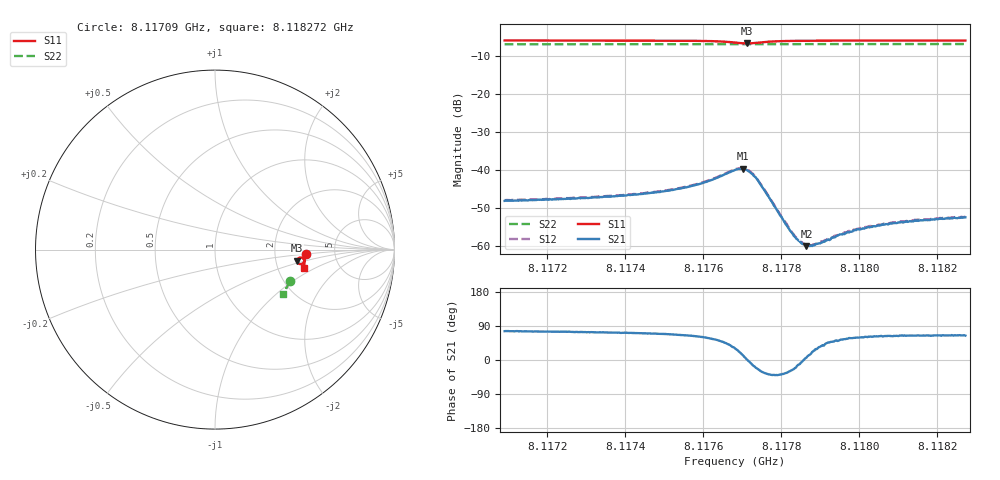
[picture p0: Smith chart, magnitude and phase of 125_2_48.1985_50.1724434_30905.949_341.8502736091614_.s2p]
#  HZ  S  RI  R  50.00
! Rohde & Schwarz Vector Network Analyzer
! Rohde-Schwarz,ZNB20-2Port,1311601062101988,3.16
! Created: UTC 3/20/2024, 11:41:40 AM
! freq[Hz]  re:S11  im:S11  re:S21  im:S21  re:S12  im:S12  re:S22  im:S22
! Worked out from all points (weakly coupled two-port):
!   401 points, 8.11709 GHz to 8.118272 GHz, reference 50 ohm
!   highest |S21| = -39.69 dB at 8.117702 GHz (marker M1); lowest = -60.1 dB at 8.117864 GHz (marker M2)
!   lowest |S11| = -6.7 dB at 8.117711 GHz (marker M3), VSWR 2.72, Z = 132 - j20.5 ohm
!   |S11| at or under -10 dB: nowhere
!   |S22| runs from -6.9 to -6.9 dB; largest |S21 - S12| = 0.00034
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8.1170904e9  0.5056 -0.0241  0.000943 0.0038  0.000982 0.00389  0.4153 -0.1755
8.1172883e9  0.5038 -0.0404  0.00118 0.00411  0.00129 0.00413  0.4103 -0.1885
8.1174212e9  0.502 -0.0521  0.00153 0.00447  0.0016 0.00455  0.4065 -0.1971
8.1174862e9  0.5004 -0.0586  0.00181 0.0048  0.00194 0.00486  0.4047 -0.2014
8.1175394e9  0.4983 -0.0646  0.00226 0.0052  0.00237 0.00527  0.4031 -0.2048
8.1175925e9  0.4942 -0.0719  0.00318 0.00577  0.00329 0.00585  0.4014 -0.2083
8.1176811e9  0.4681 -0.079  0.00862 0.00513  0.0088 0.00509  0.3977 -0.2134
8.1177018e9  0.4591 -0.068  0.0101 0.00216  0.0102 0.0021  0.3968 -0.2141
8.1177107e9  0.4582 -0.0611  0.01 0.000399  0.0102 0.000492  0.3965 -0.2143
8.1177254e9  0.4628 -0.0503  0.00867 -0.00192  0.00879 -0.00205  0.3963 -0.2148
8.1177402e9  0.4714 -0.0447  0.0066 -0.00302  0.00661 -0.00311  0.3965 -0.2155
8.117814e9  0.495 -0.0557  0.00153 -0.00103  0.00159 -0.00111  0.3952 -0.2207
8.1178318e9  0.4965 -0.059  0.00124 -0.000556  0.00129 -0.000585  0.3946 -0.2219
8.1178495e9  0.4975 -0.0621  0.0011 -0.000157  0.00115 -0.000154  0.3942 -0.2231
8.1178642e9  0.4978 -0.0643  0.000986 0.000108  0.00102 0.000108  0.3938 -0.2239
8.117879e9  0.4982 -0.0664  0.000929 0.000359  0.000961 0.000363  0.3932 -0.2249
8.1179056e9  0.4984 -0.0698  0.000867 0.000706  0.000922 0.000699  0.3924 -0.2268
8.1179469e9  0.4984 -0.0747  0.000873 0.00108  0.000888 0.00109  0.3911 -0.2295
8.1179912e9  0.4982 -0.0793  0.000835 0.00138  0.000847 0.00141  0.3896 -0.2322
8.1180769e9  0.4972 -0.0873  0.000868 0.00175  0.000876 0.00176  0.3867 -0.2375
8.1181478e9  0.4962 -0.0932  0.000922 0.00194  0.000988 0.00199  0.3841 -0.2418
8.1182718e9  0.4944 -0.1032  0.00103 0.00214  0.00101 0.0022  0.3798 -0.2493
